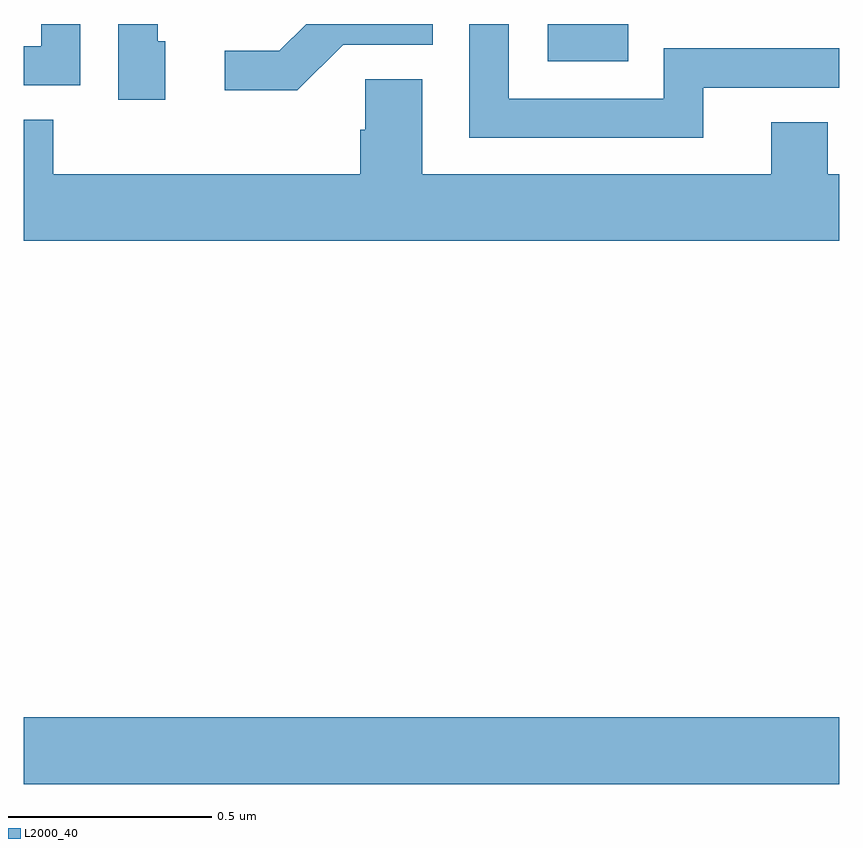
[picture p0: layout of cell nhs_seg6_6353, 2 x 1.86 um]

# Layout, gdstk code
import gdstk
lib = gdstk.Library(unit=1e-6, precision=1e-09)
def R(c, l, rs):  # rectangles x0, y0, x1, y1
    for r in rs: c.add(gdstk.rectangle(r[:2], r[2:], *l))
def P(c, l, *ps):  # polygons
    for p in ps: c.add(gdstk.Polygon(p, *l))
L2000_40 = (2000, 40)

nhs_seg6_6353 = lib.new_cell('nhs_seg6_6353')
R(nhs_seg6_6353, L2000_40, [(194,980.636,196,980.8), (195.285,982.409,195.483,982.5)])
P(nhs_seg6_6353, L2000_40, [(194.139,982.5),(194.043,982.5),(194.043,982.446),(194,982.446),(194,982.35),(194.139,982.35)],
  [(194.347,982.458),(194.328,982.458),(194.328,982.5),(194.232,982.5),(194.232,982.314),(194.347,982.314)],
  [(195.667,982.344),(196,982.344),(196,982.44),(195.57,982.44),(195.57,982.317),(195.189,982.317),(195.189,982.5),(195.093,982.5),(195.093,982.221),(195.667,982.221)],
  [(194.784,982.449),(195.003,982.449),(195.003,982.5),(194.693,982.5),(194.627,982.434),(194.493,982.434),(194.493,982.337),(194.671,982.337)],
  [(196,982.132),(195.972,982.132),(195.972,982.259),(195.833,982.259),(195.833,982.132),(194.977,982.132),(194.977,982.364),(194.838,982.364),(194.838,982.241),(194.825,982.241),(194.825,982.132),(194.072,982.132),(194.072,982.265),(194,982.265),(194,981.968),(196,981.968)])

lib.write_gds('nhs_seg6_6353.gds')
